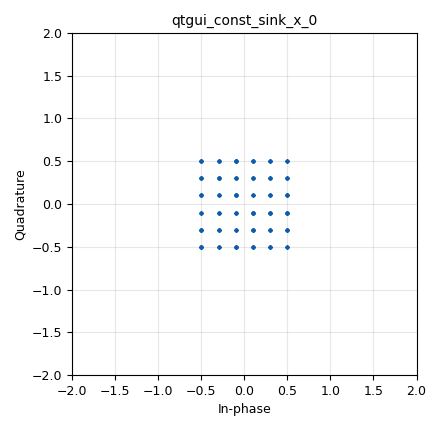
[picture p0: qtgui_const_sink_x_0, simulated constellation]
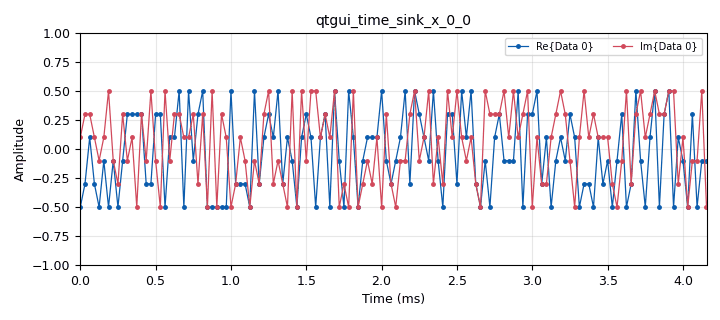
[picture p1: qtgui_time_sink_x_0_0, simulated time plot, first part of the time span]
options:
  parameters:
    author: mettus
    category: Custom
    generate_options: qt_gui
    id: demo_ofdm
    output_language: python
  states: {}

blocks:
- name: beta
  id: variable_qtgui_range
  parameters:
    gui_hint: 3,0,1,1
    label: k3 (IP3)
    orient: QtCore.Qt.Orientation.Horizontal
    start: '-10'
    step: '0.01'
    stop: '0'
    value: '0'
  states: {}
- name: const_size
  id: variable
  parameters:
    value: '64'
  states: {}
- name: fft_size
  id: variable
  parameters:
    value: '1024'
  states: {}
- name: freq_offset
  id: variable_qtgui_range
  parameters:
    gui_hint: 0,1,1,1
    label: Frequency Offset
    orient: QtCore.Qt.Orientation.Horizontal
    start: '-0.5'
    step: '0.001'
    stop: '0.5'
    value: '0'
  states: {}
- name: i_ofs
  id: variable_qtgui_range
  parameters:
    gui_hint: 2,0,1,1
    label: I offset
    orient: QtCore.Qt.Orientation.Horizontal
    start: '-1'
    step: '0.001'
    stop: '1'
    value: '0'
  states: {}
- name: k
  id: variable
  parameters:
    value: math.log(const_size)/math.log(2)
  states: {}
- name: magbal
  id: variable_qtgui_range
  parameters:
    gui_hint: 1,0,1,1
    label: IQ Magnitude Imbalance
    orient: QtCore.Qt.Orientation.Horizontal
    start: '0'
    step: '0.1'
    stop: '10'
    value: '0'
  states: {}
- name: phase_noise_mag
  id: variable_qtgui_range
  parameters:
    gui_hint: 0, 0, 1,1
    label: Phase Noise Mag (dB)
    orient: QtCore.Qt.Orientation.Horizontal
    start: '-100'
    step: '1'
    stop: '0'
    value: '-100'
  states: {}
- name: phasebal
  id: variable_qtgui_range
  parameters:
    gui_hint: 1,1,1,1
    label: IQ Phase Imbalance
    orient: QtCore.Qt.Orientation.Horizontal
    start: '0'
    step: '0.1'
    stop: '45'
    value: '0'
  states: {}
- name: q_ofs
  id: variable_qtgui_range
  parameters:
    gui_hint: 2,1,1,1
    label: Q offset
    orient: QtCore.Qt.Orientation.Horizontal
    start: '-1'
    step: '0.001'
    stop: '1'
    value: '0'
  states: {}
- name: samp_rate
  id: variable
  parameters:
    value: '32000'
  states: {}
- name: analog_random_source_x_0
  id: analog_random_source_x
  parameters:
    max: int(k)
    min: '0'
    num_samps: '10000'
    repeat: 'True'
    type: int
  states: {}
- name: analog_random_source_x_0_0
  id: analog_random_source_x
  parameters:
    max: int(k)
    min: '0'
    num_samps: '10000'
    repeat: 'True'
    type: int
  states: {}
- name: blocks_add_const_vxx_0
  id: blocks_add_const_vxx
  parameters:
    const: (-1-1j)/2
    type: complex
  states: {}
- name: blocks_float_to_complex_0
  id: blocks_float_to_complex
  parameters: {}
  states: {}
- name: blocks_int_to_float_0
  id: blocks_int_to_float
  parameters:
    scale: k-1
  states: {}
- name: blocks_int_to_float_0_0
  id: blocks_int_to_float
  parameters:
    scale: k-1
  states: {}
- name: blocks_stream_to_vector_0
  id: blocks_stream_to_vector
  parameters:
    num_items: fft_size
    type: complex
  states: {}
- name: blocks_stream_to_vector_0_0
  id: blocks_stream_to_vector
  parameters:
    num_items: fft_size
    type: complex
  states: {}
- name: blocks_throttle2_0
  id: blocks_throttle2
  parameters:
    samples_per_second: samp_rate
    type: complex
  states: {}
- name: blocks_vector_to_stream_0
  id: blocks_vector_to_stream
  parameters:
    num_items: fft_size
    type: complex
  states: {}
- name: blocks_vector_to_stream_0_0
  id: blocks_vector_to_stream
  parameters:
    num_items: fft_size
    type: complex
  states: {}
- name: channels_impairments_0
  id: channels_impairments
  parameters:
    beta: beta
    freq_offset: freq_offset
    gamma: '0'
    i_ofs: i_ofs
    magbal: magbal
    phase_noise_mag: phase_noise_mag
    phasebal: phasebal
    q_ofs: q_ofs
  states: {}
- name: fft_fft_vxx_0
  id: fft_vxx
  parameters:
    fft_size: fft_size
    forward: 'False'
    shift: 'False'
    type: complex
    window: fft_size*[1.0/math.sqrt(fft_size)]
  states: {}
- name: fft_fft_vxx_0_0
  id: fft_vxx
  parameters:
    fft_size: fft_size
    forward: 'True'
    shift: 'False'
    type: complex
    window: fft_size*[1.0/math.sqrt(fft_size)]
  states: {}
- name: import_0
  id: import
  parameters:
    imports: import math
  states: {}
- name: qtgui_const_sink_x_0
  id: qtgui_const_sink_x
  parameters:
    gui_hint: 4,0,1,1
    name: ''
    size: '1024'
    type: complex
  states: {}
- name: qtgui_time_sink_x_0_0
  id: qtgui_time_sink_x
  parameters:
    color2: green
    gui_hint: 4,1,1,1
    marker1: '1'
    marker2: '1'
    name: ''
    size: '1024'
    srate: samp_rate
    type: complex
  states: {}

connections:
- [analog_random_source_x_0, '0', blocks_int_to_float_0, '0']
- [analog_random_source_x_0_0, '0', blocks_int_to_float_0_0, '0']
- [blocks_add_const_vxx_0, '0', blocks_throttle2_0, '0']
- [blocks_float_to_complex_0, '0', blocks_add_const_vxx_0, '0']
- [blocks_int_to_float_0, '0', blocks_float_to_complex_0, '0']
- [blocks_int_to_float_0_0, '0', blocks_float_to_complex_0, '1']
- [blocks_stream_to_vector_0, '0', fft_fft_vxx_0, '0']
- [blocks_stream_to_vector_0_0, '0', fft_fft_vxx_0_0, '0']
- [blocks_throttle2_0, '0', blocks_stream_to_vector_0, '0']
- [blocks_vector_to_stream_0, '0', qtgui_const_sink_x_0, '0']
- [blocks_vector_to_stream_0, '0', qtgui_time_sink_x_0_0, '0']
- [blocks_vector_to_stream_0_0, '0', channels_impairments_0, '0']
- [channels_impairments_0, '0', blocks_stream_to_vector_0_0, '0']
- [fft_fft_vxx_0, '0', blocks_vector_to_stream_0_0, '0']
- [fft_fft_vxx_0_0, '0', blocks_vector_to_stream_0, '0']

metadata:
  file_format: 1
  grc_version: 3.10.10.0
